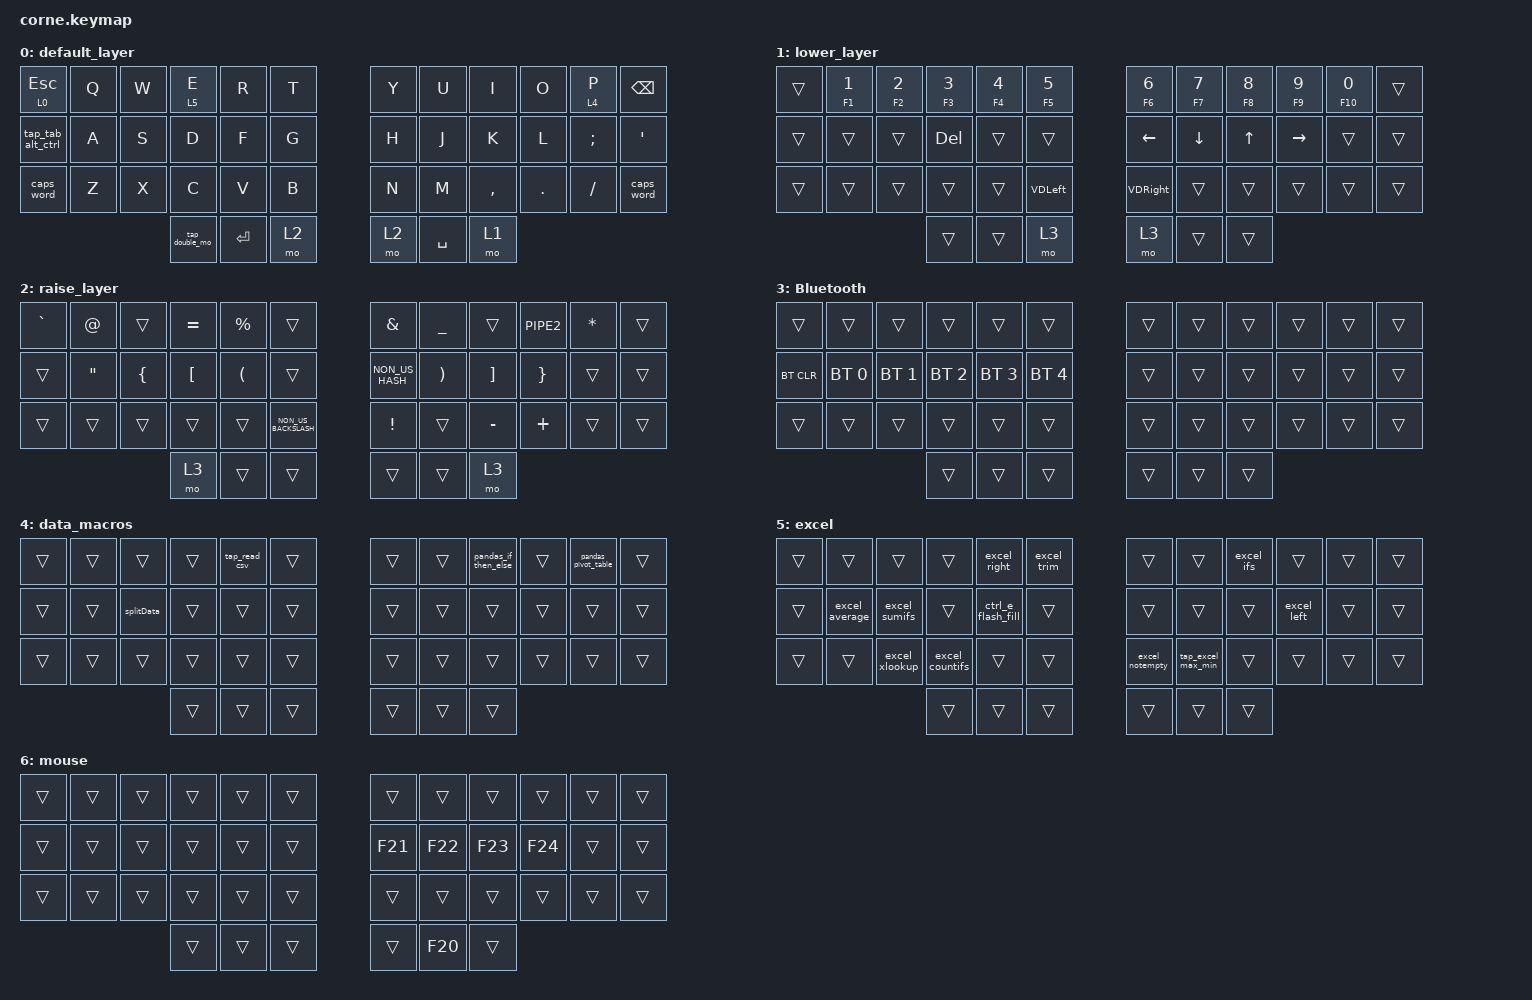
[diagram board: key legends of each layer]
/*
 * Copyright (c) 2020 The ZMK Contributors
 *
 * SPDX-License-Identifier: MIT
 */

#include <behaviors.dtsi>
#include <dt-bindings/zmk/bt.h>
#include <dt-bindings/zmk/keys.h>

/ {
    macros {
        VDRight: VDRight {
            compatible = "zmk,behavior-macro";
            label = "VDRight";
            #binding-cells = <0>;
            bindings =
                <&macro_press>,
                <&kp LEFT_CONTROL &kp LEFT_GUI>,
                <&macro_tap>,
                <&kp RIGHT>,
                <&macro_release>,
                <&kp LEFT_CONTROL &kp LEFT_GUI>;
        };

        VDLeft: VDLeft {
            compatible = "zmk,behavior-macro";
            label = "VDLeft";
            #binding-cells = <0>;
            bindings =
                <&macro_press>,
                <&kp LEFT_CONTROL &kp LEFT_GUI>,
                <&macro_tap>,
                <&kp LEFT>,
                <&macro_release>,
                <&kp LEFT_CONTROL &kp LEFT_GUI>;
        };

        splitData: splitData {
            compatible = "zmk,behavior-macro";
            #binding-cells = <0>;
            bindings = <&kp F &kp R &kp O &kp M &kp SPACE &kp S &kp K &kp L &kp E &kp A &kp R &kp N &kp DOT &kp M &kp O &kp D &kp E &kp L &kp UNDER &kp S &kp E &kp L &kp E &kp C &kp T &kp I &kp O &kp N &kp SPACE &kp I &kp M &kp P &kp O &kp R &kp T &kp SPACE &kp T &kp R &kp A &kp I &kp N &kp UNDER &kp T &kp E &kp S &kp T &kp UNDER &kp S &kp P &kp L &kp I &kp T &kp SPACE &kp ENTER &kp C &kp O &kp L &kp U &kp M &kp N &kp S &kp SPACE &kp EQUAL &kp SPACE &kp LBKT &kp RBKT &kp ENTER &kp A &kp L &kp L &kp UNDER &kp LS(X) &kp SPACE &kp EQUAL &kp SPACE &kp D &kp F &kp LBKT &kp C &kp O &kp L &kp U &kp M &kp N &kp S &kp RBKT &kp ENTER &kp A &kp L &kp L &kp UNDER &kp Y &kp SPACE &kp EQUAL &kp SPACE &kp D &kp F &kp LBKT &kp SQT &kp P &kp R &kp E &kp D &kp I &kp C &kp T &kp I &kp O &kp N &kp SQT &kp RBKT &kp ENTER &kp T &kp R &kp A &kp I &kp N &kp UNDER &kp LS(X) &kp COMMA &kp SPACE &kp T &kp E &kp S &kp T &kp UNDER &kp LS(X) &kp COMMA &kp SPACE &kp T &kp R &kp A &kp I &kp N &kp UNDER &kp Y &kp COMMA &kp SPACE &kp T &kp E &kp S &kp T &kp UNDER &kp Y &kp SPACE &kp EQUAL &kp SPACE &kp T &kp R &kp A &kp I &kp N &kp UNDER &kp T &kp E &kp S &kp T &kp UNDER &kp S &kp P &kp L &kp I &kp T &kp LPAR &kp A &kp L &kp L &kp UNDER &kp LS(X) &kp COMMA &kp SPACE &kp A &kp L &kp L &kp UNDER &kp Y &kp COMMA &kp SPACE &kp T &kp E &kp S &kp T &kp UNDER &kp S &kp I &kp Z &kp E &kp EQUAL &kp N0 &kp DOT &kp N2 &kp COMMA &kp R &kp A &kp N &kp D &kp O &kp M &kp UNDER &kp S &kp T &kp A &kp T &kp E &kp EQUAL &kp N0 &kp RPAR>;
            label = "splitData";
            wait-ms = <30>;
            tap-ms = <40>;
        };

        read_csv: read_csv {
            compatible = "zmk,behavior-macro";
            #binding-cells = <0>;
            bindings = <&kp P &kp D &kp DOT &kp R &kp E &kp A &kp D &kp UNDER &kp C &kp S &kp V &kp LPAR &kp AT &kp AT &kp COMMA &kp SPACE &kp S &kp E &kp P &kp EQUAL &kp AT &kp COMMA &kp AT &kp RPAR &kp ENTER>;
            label = "READ_CSV";
            wait-ms = <30>;
            tap-ms = <40>;
        };

        read_csv_extended: read_csv_extended {
            compatible = "zmk,behavior-macro";
            #binding-cells = <0>;
            bindings = <&kp P &kp D &kp DOT &kp R &kp E &kp A &kp D &kp UNDER &kp C &kp S &kp V &kp LPAR &kp AT &kp AT &kp COMMA &kp SPACE &kp S &kp E &kp P &kp EQUAL &kp AT &kp COMMA &kp AT &kp COMMA &kp SPACE &kp U &kp S &kp E &kp C &kp O &kp L &kp S &kp EQUAL &kp LBKT &kp AT &kp C &kp O &kp L &kp N &kp A &kp M &kp E &kp AT &kp COMMA &kp AT &kp C &kp O &kp L &kp N2 &kp N &kp A &kp M &kp E &kp AT &kp RBKT &kp COMMA &kp I &kp N &kp D &kp E &kp X &kp UNDER &kp C &kp O &kp L &kp EQUAL &kp AT &kp C &kp O &kp L &kp UNDER &kp N &kp A &kp M &kp E &kp AT &kp COMMA &kp D &kp T &kp Y &kp P &kp E &kp EQUAL &kp LBRC &kp SQT &kp C &kp O &kp L &kp U &kp M &kp N &kp UNDER &kp N &kp A &kp M &kp E &kp SQT &kp COLON &kp SPACE &kp SQT &kp T &kp Y &kp P &kp E &kp SQT &kp RBRC &kp COMMA &kp SPACE &kp P &kp A &kp R &kp S &kp E &kp UNDER &kp D &kp A &kp T &kp E &kp EQUAL &kp LBKT &kp AT &kp D &kp A &kp T &kp E &kp UNDER &kp C &kp O &kp L &kp AT &kp RBKT &kp COMMA &kp SPACE &kp N &kp R &kp O &kp W &kp S &kp EQUAL &kp N1 &kp N0 &kp N0 &kp COMMA &kp SPACE &kp N &kp A &kp UNDER &kp V &kp A &kp L &kp U &kp E &kp S &kp EQUAL &kp LBKT &kp AT &kp QMARK &kp AT &kp RBKT &kp COMMA &kp SPACE &kp T &kp R &kp U &kp E &kp UNDER &kp V &kp A &kp L &kp U &kp E &kp S &kp EQUAL &kp LBKT &kp AT &kp Y &kp E &kp S &kp AT &kp RBKT &kp COMMA &kp SPACE &kp F &kp A &kp L &kp S &kp E &kp UNDER &kp V &kp A &kp L &kp U &kp E &kp S &kp EQUAL &kp LBKT &kp AT &kp N &kp O &kp AT &kp RBKT &kp RPAR &kp ENTER>;
            label = "READ_CSV_EXTENDED";
            wait-ms = <30>;
            tap-ms = <40>;
        };

        read_csv_clipboard: read_csv_clipboard {
            compatible = "zmk,behavior-macro";
            #binding-cells = <0>;
            bindings = <&kp D &kp F &kp SPACE &kp EQUAL &kp SPACE &kp P &kp D &kp DOT &kp R &kp E &kp A &kp D &kp UNDER &kp C &kp L &kp I &kp P &kp B &kp O &kp A &kp R &kp D &kp LPAR &kp RPAR &kp SPACE &kp ENTER>;
            label = "READ_CSV_CLIPBOARD";
            wait-ms = <30>;
            tap-ms = <40>;
        };

        read_csv_multiple: read_csv_multiple {
            compatible = "zmk,behavior-macro";
            #binding-cells = <0>;
            bindings = <&kp I &kp M &kp P &kp O &kp R &kp T &kp SPACE &kp G &kp L &kp O &kp B &kp ENTER &kp I &kp M &kp P &kp O &kp R &kp T &kp SPACE &kp O &kp S &kp ENTER &kp ENTER &kp F &kp I &kp L &kp E &kp S &kp SPACE &kp EQUAL &kp SPACE &kp G &kp L &kp O &kp B &kp DOT &kp G &kp L &kp O &kp B &kp LPAR &kp AT &kp F &kp I &kp L &kp E &kp UNDER &kp ASTRK &kp DOT &kp C &kp S &kp V &kp AT &kp RPAR &kp ENTER &kp ENTER &kp R &kp E &kp S &kp U &kp L &kp T &kp SPACE &kp EQUAL &kp SPACE &kp P &kp D &kp DOT &kp C &kp O &kp N &kp C &kp A &kp T &kp LPAR &kp LBKT &kp P &kp D &kp DOT &kp R &kp E &kp A &kp D &kp UNDER &kp C &kp S &kp V &kp LPAR &kp F &kp RPAR &kp SPACE &kp F &kp O &kp R &kp SPACE &kp F &kp SPACE &kp I &kp N &kp SPACE &kp F &kp I &kp L &kp E &kp S &kp RBKT &kp COMMA &kp SPACE &kp I &kp G &kp N &kp O &kp R &kp E &kp UNDER &kp I &kp N &kp D &kp E &kp X &kp EQUAL &kp LS(T) &kp R &kp U &kp E &kp RPAR &kp ENTER>;
            label = "READ_CSV_MULTIPLE";
            wait-ms = <30>;
            tap-ms = <40>;
        };

        pandas_if_then_else: pandas_if_then_else {
            compatible = "zmk,behavior-macro";
            #binding-cells = <0>;
            bindings = <&kp D &kp F &kp LBKT &kp AT &kp O &kp U &kp T &kp P &kp U &kp T &kp AT &kp RBKT &kp SPACE &kp EQUAL &kp SPACE &kp N &kp P &kp DOT &kp W &kp H &kp E &kp R &kp E &kp LPAR &kp C &kp O &kp N &kp D &kp I &kp T &kp I &kp O &kp N &kp COMMA &kp SPACE &kp T &kp R &kp U &kp E &kp LS(R) &kp E &kp S &kp U &kp L &kp T &kp COMMA &kp SPACE &kp F &kp A &kp L &kp S &kp E &kp LS(R) &kp E &kp S &kp U &kp L &kp T &kp RPAR &kp ENTER>;
            label = "PANDAS_IF_THEN_ELSE";
            wait-ms = <30>;
            tap-ms = <40>;
        };

        pandas_pivot_table: pandas_pivot_table {
            compatible = "zmk,behavior-macro";
            #binding-cells = <0>;
            bindings = <&kp T &kp A &kp B &kp L &kp E &kp SPACE &kp EQUAL &kp SPACE &kp P &kp D &kp DOT &kp P &kp I &kp V &kp O &kp T &kp UNDER &kp T &kp A &kp B &kp L &kp E &kp LPAR &kp D &kp F &kp COMMA &kp I &kp N &kp D &kp E &kp X &kp EQUAL &kp LBKT &kp SQT &kp I &kp N &kp D &kp E &kp X &kp N1 &kp SQT &kp COMMA &kp SQT &kp I &kp N &kp D &kp E &kp X &kp N2 &kp SQT &kp RBKT &kp COMMA &kp SPACE &kp V &kp A &kp L &kp U &kp E &kp S &kp EQUAL &kp LBKT &kp AT &kp C &kp O &kp L &kp U &kp M &kp N &kp N1 &kp AT &kp COMMA &kp SPACE &kp AT &kp C &kp O &kp L &kp U &kp M &kp N &kp N2 &kp AT &kp RBKT &kp COMMA &kp SPACE &kp A &kp G &kp G &kp F &kp U &kp N &kp C &kp EQUAL &kp LBRC &kp SQT &kp C &kp O &kp L &kp U &kp M &kp N &kp N1 &kp SQT &kp COLON &kp N &kp P &kp DOT &kp M &kp E &kp A &kp N &kp COMMA &kp SQT &kp C &kp O &kp L &kp U &kp M &kp N &kp N2 &kp SQT &kp COLON &kp N &kp P &kp DOT &kp S &kp U &kp M &kp RBRC &kp RPAR>;
            label = "PANDAS_PIVOT_TABLE";
            wait-ms = <30>;
            tap-ms = <40>;
        };

        excel_ifs: excel_ifs {
            compatible = "zmk,behavior-macro";
            #binding-cells = <0>;
            bindings = <&kp EQUAL &kp LS(I) &kp LS(F) &kp LPAR>;
            label = "EXCEL_IF";
            wait-ms = <30>;
            tap-ms = <40>;
        };

        excel_sumifs: excel_sumifs {
            compatible = "zmk,behavior-macro";
            #binding-cells = <0>;
            bindings = <&kp EQUAL &kp LS(S) &kp LS(U) &kp LS(M) &kp LS(I) &kp LS(F) &kp LS(S) &kp LPAR &kp COMMA &kp AT &kp LT &kp GT &kp AT &kp AMPERSAND &kp AT &kp AT &kp RPAR>;
            label = "EXCEL_SUMIF";
            wait-ms = <30>;
            tap-ms = <40>;
        };

        excel_countifs: excel_countifs {
            compatible = "zmk,behavior-macro";
            #binding-cells = <0>;
            bindings = <&kp EQUAL &kp LS(C) &kp LS(O) &kp LS(U) &kp LS(N) &kp LS(T) &kp LS(I) &kp LS(F) &kp LS(S) &kp LPAR &kp COMMA &kp AT &kp LT &kp GT &kp AT &kp AMPERSAND &kp AT &kp AT &kp RPAR>;
            label = "EXCEL_COUNTIF";
            wait-ms = <30>;
            tap-ms = <40>;
        };

        excel_xlookup: excel_vlookup {
            compatible = "zmk,behavior-macro";
            #binding-cells = <0>;
            bindings = <&kp EQUAL &kp LS(X) &kp LS(L) &kp LS(O) &kp LS(O) &kp LS(K) &kp LS(U) &kp LS(P) &kp LPAR>;
            label = "EXCEL_VLOOKUP";
            wait-ms = <30>;
            tap-ms = <40>;
        };

        excel_trim: excel_trim {
            compatible = "zmk,behavior-macro";
            #binding-cells = <0>;
            bindings = <&kp EQUAL &kp LS(T) &kp LS(R) &kp LS(I) &kp LS(M) &kp LPAR>;
            label = "EXCEL_TRIM";
            wait-ms = <30>;
            tap-ms = <40>;
        };

        excel_min: excel_min {
            compatible = "zmk,behavior-macro";
            #binding-cells = <0>;
            bindings = <&kp EQUAL &kp LS(M) &kp LS(I) &kp LS(N) &kp LPAR>;
            label = "EXCEL_MIN";
            wait-ms = <30>;
            tap-ms = <40>;
        };

        excel_average: excel_average {
            compatible = "zmk,behavior-macro";
            #binding-cells = <0>;
            bindings = <&kp EQUAL &kp LS(A) &kp LS(V) &kp LS(E) &kp LS(R) &kp LS(A) &kp LS(G) &kp LS(E) &kp LPAR>;
            label = "EXCEL_AVERAGE";
            wait-ms = <30>;
            tap-ms = <40>;
        };

        excel_max: excel_max {
            compatible = "zmk,behavior-macro";
            #binding-cells = <0>;
            bindings = <&kp EQUAL &kp LS(M) &kp LS(A) &kp LS(X) &kp LPAR>;
            label = "EXCEL_MAX";
            wait-ms = <30>;
            tap-ms = <40>;
        };

        excel_notempty: excel_notempty {
            compatible = "zmk,behavior-macro";
            #binding-cells = <0>;
            bindings = <&kp AT &kp LT &kp GT &kp AT &kp AMPERSAND &kp AT &kp AT>;
            label = "EXCEL_NOTEMPTY";
            wait-ms = <30>;
            tap-ms = <40>;
        };

        excel_left: excel_left {
            compatible = "zmk,behavior-macro";
            #binding-cells = <0>;
            bindings = <&kp EQUAL &kp LS(L) &kp LS(E) &kp LS(F) &kp LS(T) &kp LPAR &kp LS(C) &kp LS(E) &kp LS(L) &kp LS(L) &kp COMMA &kp LS(S) &kp LS(E) &kp LS(A) &kp LS(R) &kp LS(C) &kp LS(H) &kp LPAR &kp AT &kp COMMA &kp AT &kp COMMA &kp LS(C) &kp LS(E) &kp LS(L) &kp LS(L) &kp COMMA &kp N1 &kp RPAR &kp RPAR>;
            label = "EXCEL_LEFT";
            wait-ms = <30>;
            tap-ms = <40>;
        };

        excel_right: excel_right {
            compatible = "zmk,behavior-macro";
            #binding-cells = <0>;
            bindings = <&kp EQUAL &kp LS(R) &kp LS(I) &kp LS(G) &kp LS(H) &kp LS(T) &kp LPAR &kp LS(C) &kp LS(E) &kp LS(L) &kp LS(L) &kp COMMA &kp LS(L) &kp LS(E) &kp LS(N) &kp LPAR &kp LS(C) &kp LS(E) &kp LS(L) &kp LS(L) &kp RPAR &kp MINUS &kp LS(S) &kp LS(E) &kp LS(A) &kp LS(R) &kp LS(C) &kp LS(H) &kp LPAR &kp AT &kp COMMA &kp AT &kp COMMA &kp LS(C) &kp LS(E) &kp LS(L) &kp LS(L) &kp COMMA &kp N1 &kp RPAR &kp RPAR>;
            label = "EXCEL_RIGHT";
            wait-ms = <30>;
            tap-ms = <40>;
        };

        ctrl_e_flash_fill: ctrl_e_flash_fill {
            compatible = "zmk,behavior-macro";
            #binding-cells = <0>;
            bindings = <&kp LC(E)>;
            label = "CTRL_E_FLASH_FILL";
        };
    };

    combos {
        compatible = "zmk,combos";

        lhctrl {
            bindings = <&kp LCTRL>;
            key-positions = <16 15>;
        };

        rhctrl {
            bindings = <&kp LCTRL>;
            key-positions = <20 19>;
        };

        lhalt {
            bindings = <&kp LEFT_ALT>;
            key-positions = <14 16>;
        };

        rhalt {
            bindings = <&kp LEFT_ALT>;
            key-positions = <21 19>;
        };

        lhshift {
            bindings = <&kp LEFT_SHIFT>;
            key-positions = <14 15>;
        };

        rhshift {
            bindings = <&kp RSHIFT>;
            key-positions = <20 21>;
        };

        rhgui {
            bindings = <&kp LEFT_GUI>;
            key-positions = <19 20 21 22>;
        };

        lhgui {
            bindings = <&kp LEFT_GUI>;
            key-positions = <14 15 16 13>;
        };

        lhctrl_shift {
            bindings = <&kp LC(LEFT_SHIFT)>;
            key-positions = <14 15 16>;
        };

        rhctrl_shift {
            bindings = <&kp LC(LEFT_SHIFT)>;
            key-positions = <21 20 19>;
        };

        to4right {
            bindings = <&mo 4>;
            key-positions = <10 9 8 7>;
        };

        to4left {
            bindings = <&to 4>;
            key-positions = <1 3 2 4>;
        };
    };

    behaviors {
        tap_read_csv: tap_read_csv {
            compatible = "zmk,behavior-tap-dance";
            label = "TAP_READ_CSV";
            #binding-cells = <0>;
            bindings =
                <&read_csv>,
                <&read_csv_clipboard>,
                <&read_csv_multiple>,
                <&read_csv_extended>;

            tapping-term-ms = <300>;
        };

        kp_stickyLayer: kp_stickyLayer {
            compatible = "zmk,behavior-hold-tap";
            label = "KP_STICKYLAYER";
            bindings = <&sl>, <&kp>;

            #binding-cells = <2>;
            tapping-term-ms = <200>;
            flavor = "tap-preferred";
        };

        tap_excel_max_min: tap_excel_max_min {
            compatible = "zmk,behavior-tap-dance";
            label = "TAP_EXCEL_MAX_MIN";
            #binding-cells = <0>;
            bindings = <&excel_max>, <&excel_min>;

            tapping-term-ms = <300>;
        };

        tap_to: tap_to {
            compatible = "zmk,behavior-hold-tap";
            label = "TAP_TO";
            bindings = <&to>, <&kp>;

            #binding-cells = <2>;
            tapping-term-ms = <200>;
            flavor = "tap-preferred";
        };

        hold_tap_tap: hold_tap_tap {
            compatible = "zmk,behavior-hold-tap";
            label = "HOLD_TAP_TAP";
            bindings = <&kp>, <&kp>;

            #binding-cells = <2>;
            tapping-term-ms = <200>;
            flavor = "balanced";
        };

        tap_double_mo: tap_double_mo {
            compatible = "zmk,behavior-tap-dance";
            label = "TAP_DOUBLE_MO";
            #binding-cells = <0>;
            bindings = <&mo 1>, <&mo 6>;
        };

        tap_tab_alt_ctrl: tap_tab_alt_ctrl {
            compatible = "zmk,behavior-tap-dance";
            label = "TAP_TAB_ALT_CTRL";
            #binding-cells = <0>;
            bindings = <&kp TAB>, <&hold_tap_tap LC(TAB) LA(TAB)>;

            tapping-term-ms = <200>;
        };
    };

    keymap {
        compatible = "zmk,keymap";

        default_layer {
            // -----------------------------------------------------------------------------------------
            // |  TAB |  Q  |  W  |  E  |  R  |  T  |   |  Y  |  U   |  I  |  O  |  P  | BKSP |
            // | CTRL |  A  |  S  |  D  |  F  |  G  |   |  H  |  J   |  K  |  L  |  ;  |  '   |
            // | SHFT |  Z  |  X  |  C  |  V  |  B  |   |  N  |  M   |  ,  |  .  |  /  | ESC  |
            //                    | GUI | LWR | SPC |   | ENT | RSE  | ALT |

            bindings = <
&tap_to 0 ESCAPE   &kp Q  &kp W  &kp_stickyLayer 5 E  &kp R      &kp T  &kp Y  &kp U      &kp I      &kp O    &kp_stickyLayer 4 P  &kp BSPC
&tap_tab_alt_ctrl  &kp A  &kp S  &kp D                &kp F      &kp G  &kp H  &kp J      &kp K      &kp L    &kp SEMI             &kp SQT
&caps_word         &kp Z  &kp X  &kp C                &kp V      &kp B  &kp N  &kp M      &kp COMMA  &kp DOT  &kp FSLH             &caps_word
                                 &tap_double_mo       &kp ENTER  &mo 2  &mo 2  &kp SPACE  &mo 1
            >;
        };

        lower_layer {
            // -----------------------------------------------------------------------------------------
            // |  TAB |  1  |  2  |  3  |  4  |  5  |   |  6  |  7  |  8  |  9  |  0  | BKSP |
            // | BTCLR| BT1 | BT2 | BT3 | BT4 | BT5 |   | LFT | DWN |  UP | RGT |     |      |
            // | SHFT |     |     |     |     |     |   |     |     |     |     |     |      |
            //                    | GUI |     | SPC |   | ENT |     | ALT |

            bindings = <
&trans  &hold_tap_tap F1 NUMBER_1  &hold_tap_tap F2 N2  &hold_tap_tap F3 N3  &hold_tap_tap F4 N4  &hold_tap_tap F5 N5  &hold_tap_tap F6 N6  &hold_tap_tap F7 N7  &hold_tap_tap F8 N8  &hold_tap_tap F9 N9  &hold_tap_tap F10 N0  &trans
&trans  &trans                     &trans               &kp DELETE           &trans               &trans               &kp LEFT             &kp DOWN             &kp UP               &kp RIGHT            &trans                &trans
&trans  &trans                     &trans               &trans               &trans               &VDLeft              &VDRight             &trans               &trans               &trans               &trans                &trans
                                                        &trans               &trans               &mo 3                &mo 3                &trans               &trans
            >;
        };

        raise_layer {
            // ------------------------------------------------------------------------------------------
            // |  TAB |  !  |  @  |  #  |  $  |  %  |   |  ^  |  &  |  *  |  (  |  )  | BKSP |
            // | CTRL |     |     |     |     |     |   |  -  |  =  |  [  |  ]  |  \  |  `   |
            // | SHFT |     |     |     |     |     |   |  _  |  +  |  {  |  }  | "|" |  ~   |
            //                    | GUI |     | SPC |   | ENT |     | ALT |

            bindings = <
&kp GRAVE  &kp AT_SIGN        &trans          &kp EQUAL         &kp PRCNT             &trans                &kp AMPS         &kp UNDERSCORE         &trans             &kp PIPE2        &kp ASTERISK  &trans
&trans     &kp DOUBLE_QUOTES  &kp LEFT_BRACE  &kp LEFT_BRACKET  &kp LEFT_PARENTHESIS  &trans                &kp NON_US_HASH  &kp RIGHT_PARENTHESIS  &kp RIGHT_BRACKET  &kp RIGHT_BRACE  &trans        &trans
&trans     &trans             &trans          &trans            &trans                &kp NON_US_BACKSLASH  &kp EXCLAMATION  &trans                 &kp MINUS          &kp PLUS         &trans        &trans
                                              &mo 3             &trans                &trans                &trans           &trans                 &mo 3
            >;
        };

        Bluetooth {
            bindings = <
&trans      &trans        &trans        &trans        &trans        &trans        &trans  &trans  &trans  &trans  &trans  &trans
&bt BT_CLR  &bt BT_SEL 0  &bt BT_SEL 1  &bt BT_SEL 2  &bt BT_SEL 3  &bt BT_SEL 4  &trans  &trans  &trans  &trans  &trans  &trans
&trans      &trans        &trans        &trans        &trans        &trans        &trans  &trans  &trans  &trans  &trans  &trans
                                        &trans        &trans        &trans        &trans  &trans  &trans
            >;
        };

        data_macros {
            bindings = <
&trans  &trans  &trans      &trans  &tap_read_csv  &trans  &trans  &trans  &pandas_if_then_else  &trans  &pandas_pivot_table  &trans
&trans  &trans  &splitData  &trans  &trans         &trans  &trans  &trans  &trans                &trans  &trans               &trans
&trans  &trans  &trans      &trans  &trans         &trans  &trans  &trans  &trans                &trans  &trans               &trans
                            &trans  &trans         &trans  &trans  &trans  &trans
            >;
        };

        excel {
            bindings = <
&trans  &trans          &trans          &trans           &excel_right        &excel_trim  &trans           &trans              &excel_ifs  &trans       &trans  &trans
&trans  &excel_average  &excel_sumifs   &trans           &ctrl_e_flash_fill  &trans       &trans           &trans              &trans      &excel_left  &trans  &trans
&trans  &trans          &excel_xlookup  &excel_countifs  &trans              &trans       &excel_notempty  &tap_excel_max_min  &trans      &trans       &trans  &trans
                                        &trans           &trans              &trans       &trans           &trans              &trans
            >;
        };

        mouse {
            bindings = <
&trans  &trans  &trans  &trans  &trans  &trans  &trans   &trans   &trans   &trans   &trans  &trans
&trans  &trans  &trans  &trans  &trans  &trans  &kp F21  &kp F22  &kp F23  &kp F24  &trans  &trans
&trans  &trans  &trans  &trans  &trans  &trans  &trans   &trans   &trans   &trans   &trans  &trans
                        &trans  &trans  &trans  &trans   &kp F20  &trans
            >;
        };
    };
};
